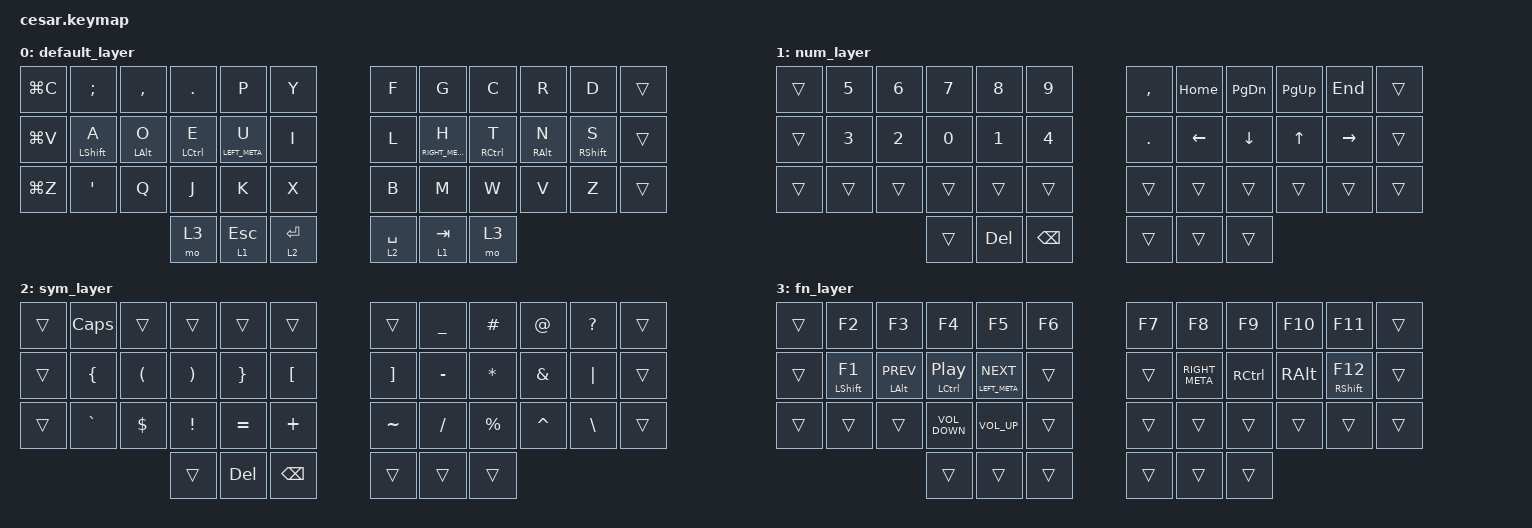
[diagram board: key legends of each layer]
/*
 * Copyright (c) 2020 The ZMK Contributors
 *
 * SPDX-License-Identifier: MIT
 */

#include <behaviors.dtsi>
#include <dt-bindings/zmk/keys.h>

&lt {
    flavor = "balanced";
    hold-trigger-on-release;
    hold-trigger-key-positions = <36 37 38>;
    tapping-term-ms = <280>;
    quick-tap-ms = <175>;
    require-prior-idle-ms = <150>;
};

/ {
    behaviors {
        hrml: home_row_mod_left {
            compatible = "zmk,behavior-hold-tap";
            label = "HRML";
            bindings = <&kp>, <&kp>;

            #binding-cells = <2>;
            flavor = "balanced";
            tapping-term-ms = <280>;
            quick-tap-ms = <175>;
            require-prior-idle-ms = <150>;
            hold-trigger-key-positions = <6 7 8 9 10 11 18 19 20 21 22 23 30 31 32 33 34 35 39 40 41>;
            hold-trigger-on-release;
        };

        hrmr: home_row_mod_right {
            compatible = "zmk,behavior-hold-tap";
            label = "HRMR";
            bindings = <&kp>, <&kp>;

            #binding-cells = <2>;
            flavor = "balanced";
            tapping-term-ms = <280>;
            quick-tap-ms = <175>;
            require-prior-idle-ms = <150>;
            hold-trigger-key-positions = <0 1 2 3 4 5 12 13 14 15 16 17 24 25 26 27 28 29 36 37 38>;
            hold-trigger-on-release;
        };

        syml: syml {
            compatible = "zmk,behavior-hold-tap";
            label = "SYML";
            bindings = <&mo>, <&kp>;

            #binding-cells = <2>;
            flavor = "balanced";
            tapping-term-ms = <280>;
            quick-tap-ms = <175>;
            require-prior-idle-ms = <150>;
            hold-trigger-key-positions = <6 7 8 9 10 11 18 19 20 21 22 23 30 31 32 33 34 35 39 40 41>;
            hold-trigger-on-release;
        };

        symr: symr {
            compatible = "zmk,behavior-hold-tap";
            label = "SYMR";
            bindings = <&mo>, <&kp>;

            #binding-cells = <2>;
            flavor = "balanced";
            tapping-term-ms = <280>;
            quick-tap-ms = <175>;
            require-prior-idle-ms = <150>;
            hold-trigger-key-positions = <0 1 2 3 4 5 12 13 14 15 16 17 24 25 26 27 28 29 36 37 38>;
            hold-trigger-on-release;
        };
    };

    combos { compatible = "zmk,combos"; };

    keymap {
        compatible = "zmk,keymap";

        default_layer {
            bindings = <
&kp LG(C)  &kp SEMI            &kp COMMA         &kp DOT               &kp P              &kp Y            &kp F          &kp G               &kp C                  &kp R              &kp D                &trans
&kp LG(V)  &hrml LEFT_SHIFT A  &hrml LEFT_ALT O  &hrml LEFT_CONTROL E  &hrml LEFT_META U  &kp I            &kp L          &hrmr RIGHT_META H  &hrmr RIGHT_CONTROL T  &hrmr RIGHT_ALT N  &hrmr RIGHT_SHIFT S  &trans
&kp LG(Z)  &kp SQT             &kp Q             &kp J                 &kp K              &kp X            &kp B          &kp M               &kp W                  &kp V              &kp Z                &trans
                                                 &mo 3                 &syml 1 ESCAPE     &syml 2 ENTER    &symr 2 SPACE  &symr 1 TAB         &mo 3
            >;
        };

        num_layer {
            bindings = <
&trans  &kp N5  &kp N6  &kp N7  &kp N8      &kp N9           &kp COMMA  &kp HOME        &kp PAGE_DOWN   &kp PAGE_UP   &kp END          &trans
&trans  &kp N3  &kp N2  &kp N0  &kp N1      &kp N4           &kp DOT    &kp LEFT_ARROW  &kp DOWN_ARROW  &kp UP_ARROW  &kp RIGHT_ARROW  &trans
&trans  &trans  &trans  &trans  &trans      &trans           &trans     &trans          &trans          &trans        &trans           &trans
                        &trans  &kp DELETE  &kp BACKSPACE    &trans     &trans          &trans
            >;
        };

        sym_layer {
            bindings = <
&trans  &kp CLCK        &trans                &trans                 &trans           &trans              &trans             &kp UNDER  &kp POUND     &kp AT     &kp QUESTION   &trans
&trans  &kp LEFT_BRACE  &kp LEFT_PARENTHESIS  &kp RIGHT_PARENTHESIS  &kp RIGHT_BRACE  &kp LEFT_BRACKET    &kp RIGHT_BRACKET  &kp MINUS  &kp ASTERISK  &kp AMPS   &kp PIPE       &trans
&trans  &kp GRAVE       &kp DOLLAR            &kp EXCL               &kp EQUAL        &kp PLUS            &kp TILDE          &kp SLASH  &kp PERCENT   &kp CARET  &kp BACKSLASH  &trans
                                              &trans                 &kp DELETE       &kp BACKSPACE       &trans             &trans     &trans
            >;
        };

        fn_layer {
            bindings = <
&trans  &kp F2               &kp F3                 &kp F4                           &kp F5                  &kp F6    &kp F7  &kp F8          &kp F9             &kp F10        &kp F11                &trans
&trans  &hrml LEFT_SHIFT F1  &hrml LEFT_ALT C_PREV  &hrml LEFT_CONTROL C_PLAY_PAUSE  &hrml LEFT_META C_NEXT  &trans    &trans  &kp RIGHT_META  &kp RIGHT_CONTROL  &kp RIGHT_ALT  &hrmr RIGHT_SHIFT F12  &trans
&trans  &trans               &trans                 &kp C_VOLUME_DOWN                &kp C_VOLUME_UP         &trans    &trans  &trans          &trans             &trans         &trans                 &trans
                                                    &trans                           &trans                  &trans    &trans  &trans          &trans
            >;
        };
    };
};
